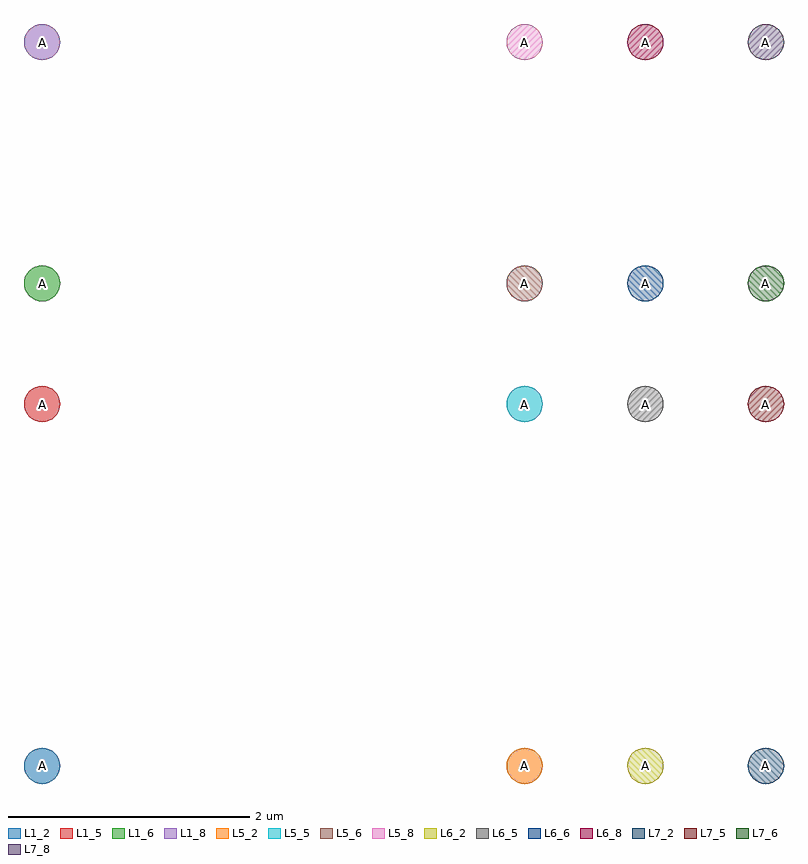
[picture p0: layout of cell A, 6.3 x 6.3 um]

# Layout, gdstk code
import gdstk
lib = gdstk.Library(unit=1e-6, precision=1e-09)
def P(c, l, *ps):  # polygons
    for p in ps: c.add(gdstk.Polygon(p, *l))
L1_2 = (1, 2)
L1_5 = (1, 5)
L1_6 = (1, 6)
L1_8 = (1, 8)
L5_2 = (5, 2)
L5_5 = (5, 5)
L5_6 = (5, 6)
L5_8 = (5, 8)
L6_2 = (6, 2)
L6_5 = (6, 5)
L6_6 = (6, 6)
L6_8 = (6, 8)
L7_2 = (7, 2)
L7_5 = (7, 5)
L7_6 = (7, 6)
L7_8 = (7, 8)

c_a = lib.new_cell('A')
P(c_a, L1_2, [(1.15,2),(1.147,2.029),(1.139,2.057),(1.125,2.083),(1.106,2.106),(1.083,2.125),(1.057,2.139),(1.029,2.147),(1,2.15),(0.971,2.147),(0.943,2.139),(0.917,2.125),(0.894,2.106),(0.875,2.083),(0.861,2.057),(0.853,2.029),(0.85,2),(0.853,1.971),(0.861,1.943),(0.875,1.917),(0.894,1.894),(0.917,1.875),(0.943,1.861),(0.971,1.853),(1,1.85),(1.029,1.853),(1.057,1.861),(1.083,1.875),(1.106,1.894),(1.125,1.917),(1.139,1.943),(1.147,1.971)])
P(c_a, L1_5, [(1.15,5),(1.147,5.029),(1.139,5.057),(1.125,5.083),(1.106,5.106),(1.083,5.125),(1.057,5.139),(1.029,5.147),(1,5.15),(0.971,5.147),(0.943,5.139),(0.917,5.125),(0.894,5.106),(0.875,5.083),(0.861,5.057),(0.853,5.029),(0.85,5),(0.853,4.971),(0.861,4.943),(0.875,4.917),(0.894,4.894),(0.917,4.875),(0.943,4.861),(0.971,4.853),(1,4.85),(1.029,4.853),(1.057,4.861),(1.083,4.875),(1.106,4.894),(1.125,4.917),(1.139,4.943),(1.147,4.971)])
P(c_a, L1_6, [(1.15,6),(1.147,6.029),(1.139,6.057),(1.125,6.083),(1.106,6.106),(1.083,6.125),(1.057,6.139),(1.029,6.147),(1,6.15),(0.971,6.147),(0.943,6.139),(0.917,6.125),(0.894,6.106),(0.875,6.083),(0.861,6.057),(0.853,6.029),(0.85,6),(0.853,5.971),(0.861,5.943),(0.875,5.917),(0.894,5.894),(0.917,5.875),(0.943,5.861),(0.971,5.853),(1,5.85),(1.029,5.853),(1.057,5.861),(1.083,5.875),(1.106,5.894),(1.125,5.917),(1.139,5.943),(1.147,5.971)])
P(c_a, L1_8, [(1.15,8),(1.147,8.029),(1.139,8.057),(1.125,8.083),(1.106,8.106),(1.083,8.125),(1.057,8.139),(1.029,8.147),(1,8.15),(0.971,8.147),(0.943,8.139),(0.917,8.125),(0.894,8.106),(0.875,8.083),(0.861,8.057),(0.853,8.029),(0.85,8),(0.853,7.971),(0.861,7.943),(0.875,7.917),(0.894,7.894),(0.917,7.875),(0.943,7.861),(0.971,7.853),(1,7.85),(1.029,7.853),(1.057,7.861),(1.083,7.875),(1.106,7.894),(1.125,7.917),(1.139,7.943),(1.147,7.971)])
P(c_a, L5_2, [(5.15,2),(5.147,2.029),(5.139,2.057),(5.125,2.083),(5.106,2.106),(5.083,2.125),(5.057,2.139),(5.029,2.147),(5,2.15),(4.971,2.147),(4.943,2.139),(4.917,2.125),(4.894,2.106),(4.875,2.083),(4.861,2.057),(4.853,2.029),(4.85,2),(4.853,1.971),(4.861,1.943),(4.875,1.917),(4.894,1.894),(4.917,1.875),(4.943,1.861),(4.971,1.853),(5,1.85),(5.029,1.853),(5.057,1.861),(5.083,1.875),(5.106,1.894),(5.125,1.917),(5.139,1.943),(5.147,1.971)])
P(c_a, L5_5, [(5.15,5),(5.147,5.029),(5.139,5.057),(5.125,5.083),(5.106,5.106),(5.083,5.125),(5.057,5.139),(5.029,5.147),(5,5.15),(4.971,5.147),(4.943,5.139),(4.917,5.125),(4.894,5.106),(4.875,5.083),(4.861,5.057),(4.853,5.029),(4.85,5),(4.853,4.971),(4.861,4.943),(4.875,4.917),(4.894,4.894),(4.917,4.875),(4.943,4.861),(4.971,4.853),(5,4.85),(5.029,4.853),(5.057,4.861),(5.083,4.875),(5.106,4.894),(5.125,4.917),(5.139,4.943),(5.147,4.971)])
P(c_a, L5_6, [(5.15,6),(5.147,6.029),(5.139,6.057),(5.125,6.083),(5.106,6.106),(5.083,6.125),(5.057,6.139),(5.029,6.147),(5,6.15),(4.971,6.147),(4.943,6.139),(4.917,6.125),(4.894,6.106),(4.875,6.083),(4.861,6.057),(4.853,6.029),(4.85,6),(4.853,5.971),(4.861,5.943),(4.875,5.917),(4.894,5.894),(4.917,5.875),(4.943,5.861),(4.971,5.853),(5,5.85),(5.029,5.853),(5.057,5.861),(5.083,5.875),(5.106,5.894),(5.125,5.917),(5.139,5.943),(5.147,5.971)])
P(c_a, L5_8, [(5.15,8),(5.147,8.029),(5.139,8.057),(5.125,8.083),(5.106,8.106),(5.083,8.125),(5.057,8.139),(5.029,8.147),(5,8.15),(4.971,8.147),(4.943,8.139),(4.917,8.125),(4.894,8.106),(4.875,8.083),(4.861,8.057),(4.853,8.029),(4.85,8),(4.853,7.971),(4.861,7.943),(4.875,7.917),(4.894,7.894),(4.917,7.875),(4.943,7.861),(4.971,7.853),(5,7.85),(5.029,7.853),(5.057,7.861),(5.083,7.875),(5.106,7.894),(5.125,7.917),(5.139,7.943),(5.147,7.971)])
P(c_a, L6_2, [(6.15,2),(6.147,2.029),(6.139,2.057),(6.125,2.083),(6.106,2.106),(6.083,2.125),(6.057,2.139),(6.029,2.147),(6,2.15),(5.971,2.147),(5.943,2.139),(5.917,2.125),(5.894,2.106),(5.875,2.083),(5.861,2.057),(5.853,2.029),(5.85,2),(5.853,1.971),(5.861,1.943),(5.875,1.917),(5.894,1.894),(5.917,1.875),(5.943,1.861),(5.971,1.853),(6,1.85),(6.029,1.853),(6.057,1.861),(6.083,1.875),(6.106,1.894),(6.125,1.917),(6.139,1.943),(6.147,1.971)])
P(c_a, L6_5, [(6.15,5),(6.147,5.029),(6.139,5.057),(6.125,5.083),(6.106,5.106),(6.083,5.125),(6.057,5.139),(6.029,5.147),(6,5.15),(5.971,5.147),(5.943,5.139),(5.917,5.125),(5.894,5.106),(5.875,5.083),(5.861,5.057),(5.853,5.029),(5.85,5),(5.853,4.971),(5.861,4.943),(5.875,4.917),(5.894,4.894),(5.917,4.875),(5.943,4.861),(5.971,4.853),(6,4.85),(6.029,4.853),(6.057,4.861),(6.083,4.875),(6.106,4.894),(6.125,4.917),(6.139,4.943),(6.147,4.971)])
P(c_a, L6_6, [(6.15,6),(6.147,6.029),(6.139,6.057),(6.125,6.083),(6.106,6.106),(6.083,6.125),(6.057,6.139),(6.029,6.147),(6,6.15),(5.971,6.147),(5.943,6.139),(5.917,6.125),(5.894,6.106),(5.875,6.083),(5.861,6.057),(5.853,6.029),(5.85,6),(5.853,5.971),(5.861,5.943),(5.875,5.917),(5.894,5.894),(5.917,5.875),(5.943,5.861),(5.971,5.853),(6,5.85),(6.029,5.853),(6.057,5.861),(6.083,5.875),(6.106,5.894),(6.125,5.917),(6.139,5.943),(6.147,5.971)])
P(c_a, L6_8, [(6.15,8),(6.147,8.029),(6.139,8.057),(6.125,8.083),(6.106,8.106),(6.083,8.125),(6.057,8.139),(6.029,8.147),(6,8.15),(5.971,8.147),(5.943,8.139),(5.917,8.125),(5.894,8.106),(5.875,8.083),(5.861,8.057),(5.853,8.029),(5.85,8),(5.853,7.971),(5.861,7.943),(5.875,7.917),(5.894,7.894),(5.917,7.875),(5.943,7.861),(5.971,7.853),(6,7.85),(6.029,7.853),(6.057,7.861),(6.083,7.875),(6.106,7.894),(6.125,7.917),(6.139,7.943),(6.147,7.971)])
P(c_a, L7_2, [(7.15,2),(7.147,2.029),(7.139,2.057),(7.125,2.083),(7.106,2.106),(7.083,2.125),(7.057,2.139),(7.029,2.147),(7,2.15),(6.971,2.147),(6.943,2.139),(6.917,2.125),(6.894,2.106),(6.875,2.083),(6.861,2.057),(6.853,2.029),(6.85,2),(6.853,1.971),(6.861,1.943),(6.875,1.917),(6.894,1.894),(6.917,1.875),(6.943,1.861),(6.971,1.853),(7,1.85),(7.029,1.853),(7.057,1.861),(7.083,1.875),(7.106,1.894),(7.125,1.917),(7.139,1.943),(7.147,1.971)])
P(c_a, L7_5, [(7.15,5),(7.147,5.029),(7.139,5.057),(7.125,5.083),(7.106,5.106),(7.083,5.125),(7.057,5.139),(7.029,5.147),(7,5.15),(6.971,5.147),(6.943,5.139),(6.917,5.125),(6.894,5.106),(6.875,5.083),(6.861,5.057),(6.853,5.029),(6.85,5),(6.853,4.971),(6.861,4.943),(6.875,4.917),(6.894,4.894),(6.917,4.875),(6.943,4.861),(6.971,4.853),(7,4.85),(7.029,4.853),(7.057,4.861),(7.083,4.875),(7.106,4.894),(7.125,4.917),(7.139,4.943),(7.147,4.971)])
P(c_a, L7_6, [(7.15,6),(7.147,6.029),(7.139,6.057),(7.125,6.083),(7.106,6.106),(7.083,6.125),(7.057,6.139),(7.029,6.147),(7,6.15),(6.971,6.147),(6.943,6.139),(6.917,6.125),(6.894,6.106),(6.875,6.083),(6.861,6.057),(6.853,6.029),(6.85,6),(6.853,5.971),(6.861,5.943),(6.875,5.917),(6.894,5.894),(6.917,5.875),(6.943,5.861),(6.971,5.853),(7,5.85),(7.029,5.853),(7.057,5.861),(7.083,5.875),(7.106,5.894),(7.125,5.917),(7.139,5.943),(7.147,5.971)])
P(c_a, L7_8, [(7.15,8),(7.147,8.029),(7.139,8.057),(7.125,8.083),(7.106,8.106),(7.083,8.125),(7.057,8.139),(7.029,8.147),(7,8.15),(6.971,8.147),(6.943,8.139),(6.917,8.125),(6.894,8.106),(6.875,8.083),(6.861,8.057),(6.853,8.029),(6.85,8),(6.853,7.971),(6.861,7.943),(6.875,7.917),(6.894,7.894),(6.917,7.875),(6.943,7.861),(6.971,7.853),(7,7.85),(7.029,7.853),(7.057,7.861),(7.083,7.875),(7.106,7.894),(7.125,7.917),(7.139,7.943),(7.147,7.971)])
c_a.add(gdstk.Label('A', (1,2), layer=1, texttype=2))
c_a.add(gdstk.Label('A', (1,5), layer=1, texttype=5))
c_a.add(gdstk.Label('A', (1,6), layer=1, texttype=6))
c_a.add(gdstk.Label('A', (1,8), layer=1, texttype=8))
c_a.add(gdstk.Label('A', (5,2), layer=5, texttype=2))
c_a.add(gdstk.Label('A', (5,5), layer=5, texttype=5))
c_a.add(gdstk.Label('A', (5,6), layer=5, texttype=6))
c_a.add(gdstk.Label('A', (5,8), layer=5, texttype=8))
c_a.add(gdstk.Label('A', (6,2), layer=6, texttype=2))
c_a.add(gdstk.Label('A', (6,5), layer=6, texttype=5))
c_a.add(gdstk.Label('A', (6,6), layer=6, texttype=6))
c_a.add(gdstk.Label('A', (6,8), layer=6, texttype=8))
c_a.add(gdstk.Label('A', (7,2), layer=7, texttype=2))
c_a.add(gdstk.Label('A', (7,5), layer=7, texttype=5))
c_a.add(gdstk.Label('A', (7,6), layer=7, texttype=6))
c_a.add(gdstk.Label('A', (7,8), layer=7, texttype=8))

lib.write_gds('A.gds')
